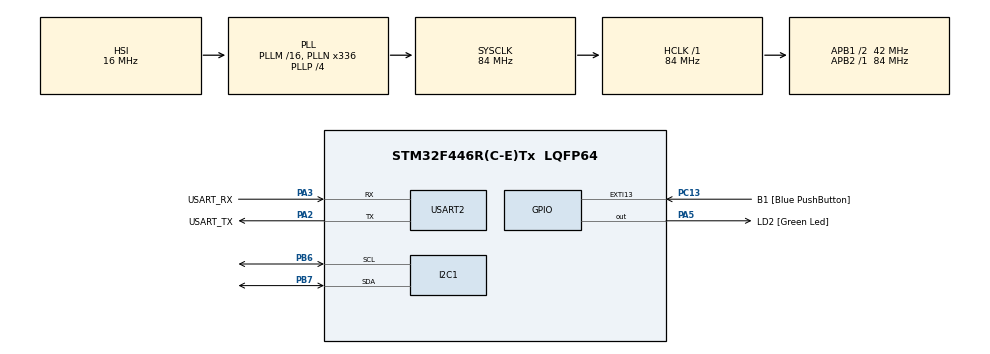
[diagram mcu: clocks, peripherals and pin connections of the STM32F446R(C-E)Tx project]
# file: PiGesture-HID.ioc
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Dma.Request0=USART2_RX
Dma.USART2_RX.0.Direction=DMA_PERIPH_TO_MEMORY
Dma.USART2_RX.0.FIFOMode=DMA_FIFOMODE_DISABLE
Dma.USART2_RX.0.Instance=DMA1_Stream5
Dma.USART2_RX.0.MemDataAlignment=DMA_MDATAALIGN_BYTE
Dma.USART2_RX.0.MemInc=DMA_MINC_ENABLE
Dma.USART2_RX.0.Mode=DMA_NORMAL
Dma.USART2_RX.0.PeriphDataAlignment=DMA_PDATAALIGN_BYTE
Dma.USART2_RX.0.PeriphInc=DMA_PINC_DISABLE
Dma.USART2_RX.0.Priority=DMA_PRIORITY_LOW
I2C1.I2C_Mode=I2C_Fast
Mcu.Family=STM32F4
Mcu.Name=STM32F446R(C-E)Tx
Mcu.Package=LQFP64
NVIC.DMA1_Stream5_IRQn=true\:0\:0\:false\:false\:true\:false\:true\:true
NVIC.EXTI15_10_IRQn=true\:0\:0\:false\:false\:true\:true\:true\:true
NVIC.PriorityGroup=NVIC_PRIORITYGROUP_0
NVIC.USART2_IRQn=true\:0\:0\:false\:false\:true\:true\:true\:true
PA13.GPIO_Label=TMS
PA13.Mode=Serial_Wire
PA13.Signal=SYS_JTMS-SWDIO
PA14.GPIO_Label=TCK
PA14.Mode=Serial_Wire
PA14.Signal=SYS_JTCK-SWCLK
PA2.GPIO_Label=USART_TX
PA2.Mode=Asynchronous
PA2.Signal=USART2_TX
PA3.GPIO_Label=USART_RX
PA3.Mode=Asynchronous
PA3.Signal=USART2_RX
PA5.GPIO_Label=LD2 [Green Led]
PA5.Signal=GPIO_Output
PB3.GPIO_Label=SWO
PB3.Signal=SYS_JTDO-SWO
PB6.GPIO_Pu=GPIO_PULLUP
PB6.Mode=I2C
PB6.Signal=I2C1_SCL
PB7.GPIO_Pu=GPIO_PULLUP
PB7.Mode=I2C
PB7.Signal=I2C1_SDA
PC13.GPIO_Label=B1 [Blue PushButton]
PC13.GPIO_ModeDefaultEXTI=GPIO_MODE_IT_FALLING
PC13.Signal=GPXTI13
PC14-OSC32_IN.Mode=LSE-External-Oscillator
PC14-OSC32_IN.Signal=RCC_OSC32_IN
PC15-OSC32_OUT.Mode=LSE-External-Oscillator
PC15-OSC32_OUT.Signal=RCC_OSC32_OUT
PH0-OSC_IN.Mode=HSE-External-Oscillator
PH0-OSC_IN.Signal=RCC_OSC_IN
PH1-OSC_OUT.Mode=HSE-External-Oscillator
PH1-OSC_OUT.Signal=RCC_OSC_OUT
ProjectManager.HeapSize=0x200
ProjectManager.StackSize=0x400
ProjectManager.TargetToolchain=STM32CubeIDE
RCC.48MHZClocksFreq_Value=84000000
RCC.AHBFreq_Value=84000000
RCC.APB1CLKDivider=RCC_HCLK_DIV2
RCC.APB1Freq_Value=42000000
RCC.APB1TimFreq_Value=84000000
RCC.APB2Freq_Value=84000000
RCC.APB2TimFreq_Value=84000000
RCC.CortexFreq_Value=84000000
RCC.FLatency-AdvancedSettings=FLASH_LATENCY_2
RCC.HCLKFreq_Value=84000000
RCC.HSE_VALUE=8000000
RCC.HSI_VALUE=16000000
RCC.PLLN=336
RCC.PLLP=RCC_PLLP_DIV4
RCC.SYSCLKFreq_VALUE=84000000
RCC.SYSCLKSource=RCC_SYSCLKSOURCE_PLLCLK
RCC.USBFreq_Value=168000000
RCC.VCOOutputFreq_Value=336000000
USART2.VirtualMode=VM_ASYNC
board=NUCLEO-F446RE

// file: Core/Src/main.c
/* USER CODE BEGIN Header */
/**
  ******************************************************************************
  * @file           : main.c
  * @brief          : Main program body
  ******************************************************************************
  * @attention
  *
  * Copyright (c) 2026 STMicroelectronics.
  * All rights reserved.
  *
  * This software is licensed under terms that can be found in the LICENSE file
  * in the root directory of this software component.
  * If no LICENSE file comes with this software, it is provided AS-IS.
  *
  ******************************************************************************
  */
/* USER CODE END Header */
#include "main.h"

/* USER CODE BEGIN Includes */
#include <stdio.h>
#include <math.h>
#include <string.h>
#include "ssd1306.h"
#include "ssd1306_fonts.h"
/* USER CODE END Includes */

/* USER CODE BEGIN PTD */
typedef struct {
    int is_running;
    int is_detected;
    int direction;
    int is_clicking;
    int fps;
    int latency;
} GestureState;

GestureState state;
/* USER CODE END PTD */

I2C_HandleTypeDef hi2c1;

UART_HandleTypeDef huart2;
DMA_HandleTypeDef hdma_usart2_rx;

/* USER CODE BEGIN PV */
#define RX_BUF_SIZE 64
uint8_t rx_buffer[RX_BUF_SIZE];
uint8_t new_data_flag = 0;
GestureState state = {0, 0, 0, 0, 0, 0};
/* USER CODE END PV */

void SystemClock_Config(void);
static void MX_GPIO_Init(void);
static void MX_DMA_Init(void);
static void MX_I2C1_Init(void);
static void MX_USART2_UART_Init(void);

/* USER CODE BEGIN 0 */
void draw_mouse_icon(int x, int y, int clicking) {
    ssd1306_DrawRectangle(x-8, y-12, x+8, y+12, White);
    ssd1306_Line(x, y-12, x, y-2, White);
    ssd1306_Line(x-8, y-2, x+8, y-2, White);

    if (clicking) {
        for(int i=x-7; i<x; i++) {
            ssd1306_Line(i, y-11, i, y-3, White);
        }
    }
}
void draw_direction_arrow(int x, int y, int dir) {
    int dist = 20;
    if (dir == 0) return;

    int arrow_x = x, arrow_y = y;
    switch(dir) {
        case 1: arrow_x += dist; break;
        case 2: arrow_x += dist; arrow_y -= dist; break;
        case 3: arrow_y -= dist; break;
        case 4: arrow_x -= dist; arrow_y -= dist; break;
        case 5: arrow_x -= dist; break;
        case 6: arrow_x -= dist; arrow_y += dist; break;
        case 7: arrow_y += dist; break;
        case 8: arrow_x += dist; arrow_y += dist; break;
    }
    ssd1306_DrawCircle(arrow_x, arrow_y, 3, White);
}

void draw_status_overlay() {
    if (!state.is_running) {

        ssd1306_DrawRectangle(58, 24, 62, 40, White);
        ssd1306_DrawRectangle(66, 24, 70, 40, White);
        ssd1306_SetCursor(40, 45);
        ssd1306_WriteString("PAUSED", Font_7x10, White);
    }
    else if (!state.is_detected) {

        static float angle = 0;
        int anim_x = 64 + 10 * cos(angle);
        int anim_y = 32 + 10 * sin(angle);
        ssd1306_DrawCircle(anim_x, anim_y, 2, White);
        angle += 0.5;
        ssd1306_SetCursor(30, 45);
        ssd1306_WriteString("SEARCHING", Font_7x10, White);
    }
}
/* USER CODE END 0 */

int main(void)
{

  /* MCU Configuration--------------------------------------------------------*/

  /* Reset of all peripherals, Initializes the Flash interface and the Systick. */
  HAL_Init();

  /* Configure the system clock */
  SystemClock_Config();

  /* Initialize all configured peripherals */
  MX_GPIO_Init();
  MX_DMA_Init();
  MX_I2C1_Init();
  MX_USART2_UART_Init();
  /* USER CODE BEGIN 2 */
  ssd1306_Init();
  HAL_UARTEx_ReceiveToIdle_DMA(&huart2, rx_buffer, RX_BUF_SIZE);
  /* USER CODE END 2 */

  /* Infinite loop */
  /* USER CODE BEGIN WHILE */
  while (1)
  {
	  if (!oled_is_busy) {
      ssd1306_Fill(Black);

      char buf[16];
      sprintf(buf, "%d FPS", state.fps);
      ssd1306_SetCursor(0, 0);
      ssd1306_WriteString(buf, Font_6x8, White);

      sprintf(buf, "%d ms", state.latency);
      ssd1306_SetCursor(0, 10);
      ssd1306_WriteString(buf, Font_6x8, White);

      if (!state.is_running) {
          ssd1306_DrawRectangle(58, 22, 62, 42, White);
          ssd1306_DrawRectangle(66, 22, 70, 42, White);
          ssd1306_SetCursor(45, 46);
          ssd1306_WriteString("STOP", Font_7x10, White);
      }
      else if (!state.is_detected) {
          static float angle = 0;
          int anim_x = 64 + 12 * cos(angle);
          int anim_y = 32 + 12 * sin(angle);
          ssd1306_DrawCircle(anim_x, anim_y, 2, White);
          angle += 0.25;

          ssd1306_SetCursor(35, 48);
          ssd1306_WriteString("SEARCHING", Font_6x8, White);
      }
      else {
          draw_mouse_icon(64, 32, state.is_clicking);
          draw_direction_arrow(64, 32, state.direction);
      }
      ssd1306_UpdateScreen();
  }

  if (new_data_flag) {
      HAL_GPIO_WritePin(GPIOA, GPIO_PIN_5, GPIO_PIN_SET);
      new_data_flag = 0;
  } else {
      static uint32_t led_tick = 0;
      if (HAL_GetTick() - led_tick > 20) {
          HAL_GPIO_WritePin(GPIOA, GPIO_PIN_5, GPIO_PIN_RESET);
          led_tick = HAL_GetTick();
      }
  }

    /* USER CODE END WHILE */

  }
}

void SystemClock_Config(void)
{
  RCC_OscInitTypeDef RCC_OscInitStruct = {0};
  RCC_ClkInitTypeDef RCC_ClkInitStruct = {0};

  /** Configure the main internal regulator output voltage
  */
  __HAL_RCC_PWR_CLK_ENABLE();
  __HAL_PWR_VOLTAGESCALING_CONFIG(PWR_REGULATOR_VOLTAGE_SCALE3);

  /** Initializes the RCC Oscillators according to the specified parameters
  * in the RCC_OscInitTypeDef structure.
  */
  RCC_OscInitStruct.OscillatorType = RCC_OSCILLATORTYPE_HSI;
  RCC_OscInitStruct.HSIState = RCC_HSI_ON;
  RCC_OscInitStruct.HSICalibrationValue = RCC_HSICALIBRATION_DEFAULT;
  RCC_OscInitStruct.PLL.PLLState = RCC_PLL_ON;
  RCC_OscInitStruct.PLL.PLLSource = RCC_PLLSOURCE_HSI;
  RCC_OscInitStruct.PLL.PLLM = 16;
  RCC_OscInitStruct.PLL.PLLN = 336;
  RCC_OscInitStruct.PLL.PLLP = RCC_PLLP_DIV4;
  RCC_OscInitStruct.PLL.PLLQ = 2;
  RCC_OscInitStruct.PLL.PLLR = 2;
  if (HAL_RCC_OscConfig(&RCC_OscInitStruct) != HAL_OK)
  {
    Error_Handler();
  }

  /** Initializes the CPU, AHB and APB buses clocks
  */
  RCC_ClkInitStruct.ClockType = RCC_CLOCKTYPE_HCLK|RCC_CLOCKTYPE_SYSCLK
                              |RCC_CLOCKTYPE_PCLK1|RCC_CLOCKTYPE_PCLK2;
  RCC_ClkInitStruct.SYSCLKSource = RCC_SYSCLKSOURCE_PLLCLK;
  RCC_ClkInitStruct.AHBCLKDivider = RCC_SYSCLK_DIV1;
  RCC_ClkInitStruct.APB1CLKDivider = RCC_HCLK_DIV2;
  RCC_ClkInitStruct.APB2CLKDivider = RCC_HCLK_DIV1;

  if (HAL_RCC_ClockConfig(&RCC_ClkInitStruct, FLASH_LATENCY_2) != HAL_OK)
  {
    Error_Handler();
  }
}

static void MX_I2C1_Init(void)
{

  hi2c1.Instance = I2C1;
  hi2c1.Init.ClockSpeed = 400000;
  hi2c1.Init.DutyCycle = I2C_DUTYCYCLE_2;
  hi2c1.Init.OwnAddress1 = 0;
  hi2c1.Init.AddressingMode = I2C_ADDRESSINGMODE_7BIT;
  hi2c1.Init.DualAddressMode = I2C_DUALADDRESS_DISABLE;
  hi2c1.Init.OwnAddress2 = 0;
  hi2c1.Init.GeneralCallMode = I2C_GENERALCALL_DISABLE;
  hi2c1.Init.NoStretchMode = I2C_NOSTRETCH_DISABLE;
  if (HAL_I2C_Init(&hi2c1) != HAL_OK)
  {
    Error_Handler();
  }

}

static void MX_USART2_UART_Init(void)
{

  huart2.Instance = USART2;
  huart2.Init.BaudRate = 115200;
  huart2.Init.WordLength = UART_WORDLENGTH_8B;
  huart2.Init.StopBits = UART_STOPBITS_1;
  huart2.Init.Parity = UART_PARITY_NONE;
  huart2.Init.Mode = UART_MODE_TX_RX;
  huart2.Init.HwFlowCtl = UART_HWCONTROL_NONE;
  huart2.Init.OverSampling = UART_OVERSAMPLING_16;
  if (HAL_UART_Init(&huart2) != HAL_OK)
  {
    Error_Handler();
  }

}

static void MX_DMA_Init(void)
{

  /* DMA controller clock enable */
  __HAL_RCC_DMA1_CLK_ENABLE();

  /* DMA interrupt init */
  /* DMA1_Stream5_IRQn interrupt configuration */
  HAL_NVIC_SetPriority(DMA1_Stream5_IRQn, 0, 0);
  HAL_NVIC_EnableIRQ(DMA1_Stream5_IRQn);

}

static void MX_GPIO_Init(void)
{
  GPIO_InitTypeDef GPIO_InitStruct = {0};

  /* GPIO Ports Clock Enable */
  __HAL_RCC_GPIOC_CLK_ENABLE();
  __HAL_RCC_GPIOH_CLK_ENABLE();
  __HAL_RCC_GPIOA_CLK_ENABLE();
  __HAL_RCC_GPIOB_CLK_ENABLE();

  /*Configure GPIO pin Output Level */
  HAL_GPIO_WritePin(LD2_GPIO_Port, LD2_Pin, GPIO_PIN_RESET);

  /*Configure GPIO pin : B1_Pin */
  GPIO_InitStruct.Pin = B1_Pin;
  GPIO_InitStruct.Mode = GPIO_MODE_IT_FALLING;
  GPIO_InitStruct.Pull = GPIO_NOPULL;
  HAL_GPIO_Init(B1_GPIO_Port, &GPIO_InitStruct);

  /*Configure GPIO pin : LD2_Pin */
  GPIO_InitStruct.Pin = LD2_Pin;
  GPIO_InitStruct.Mode = GPIO_MODE_OUTPUT_PP;
  GPIO_InitStruct.Pull = GPIO_NOPULL;
  GPIO_InitStruct.Speed = GPIO_SPEED_FREQ_LOW;
  HAL_GPIO_Init(LD2_GPIO_Port, &GPIO_InitStruct);

  /* EXTI interrupt init*/
  HAL_NVIC_SetPriority(EXTI15_10_IRQn, 0, 0);
  HAL_NVIC_EnableIRQ(EXTI15_10_IRQn);

}

/* USER CODE BEGIN 4 */
void HAL_GPIO_EXTI_Callback(uint16_t GPIO_Pin)
{
    if (GPIO_Pin == B1_Pin)
    {
        static uint32_t last_tick = 0;
        if (HAL_GetTick() - last_tick < 300) return;
        last_tick = HAL_GetTick();

        if (state.is_running) {
            HAL_UART_Transmit(&huart2, (uint8_t*)"STOP\n", 5, 100);
            state.is_running = 0;
        } else {
            HAL_UART_Transmit(&huart2, (uint8_t*)"START\n", 6, 100);
            state.is_running = 1;
        }
    }
}
void HAL_UARTEx_RxEventCallback(UART_HandleTypeDef *huart, uint16_t Size)
{
    if (huart->Instance == USART2)
    {
        if (rx_buffer[0] == '#') {
            char temp_str[RX_BUF_SIZE];
            memcpy(temp_str, rx_buffer, Size);
            temp_str[Size] = '\0';

            int count = sscanf(temp_str, "#%d,%d,%d,%d,%d,%d!",
                               &state.is_running, &state.is_detected, &state.direction,
                               &state.is_clicking, &state.fps, &state.latency);

            if (count == 6) {
                new_data_flag = 1;
            } else {
            }
        }
        HAL_UARTEx_ReceiveToIdle_DMA(&huart2, rx_buffer, RX_BUF_SIZE);
    }
}
void HAL_I2C_MemTxCpltCallback(I2C_HandleTypeDef *hi2c) {
    if (hi2c->Instance == I2C1) {
        oled_is_busy = 0;
    }
}
/* USER CODE END 4 */

void Error_Handler(void)
{
  __disable_irq();
  while (1)
  {
  }
}
